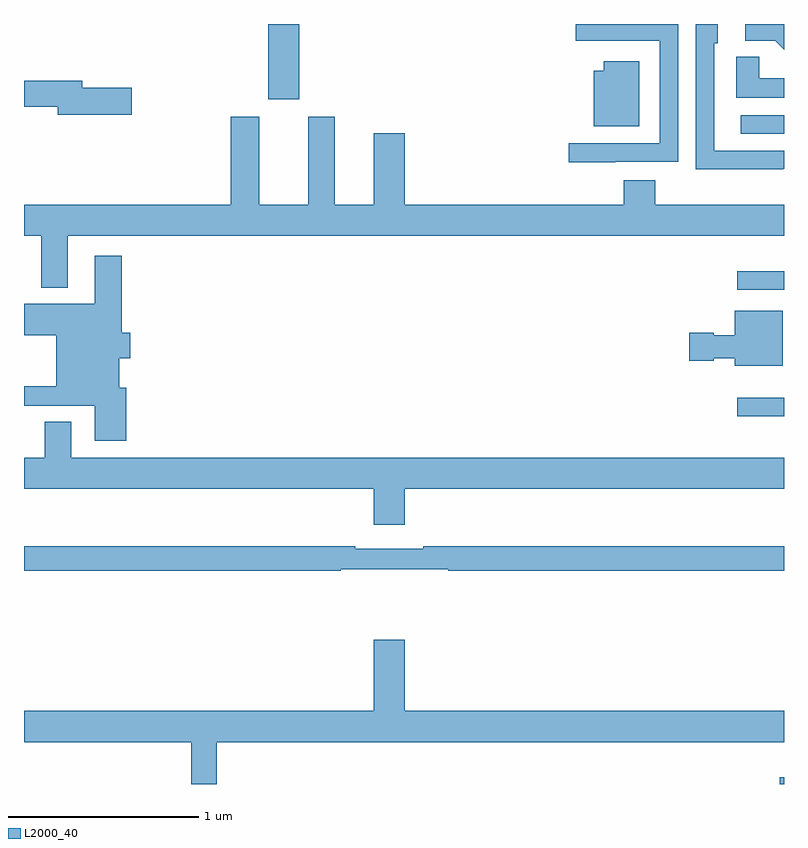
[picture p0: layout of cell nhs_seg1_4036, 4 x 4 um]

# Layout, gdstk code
import gdstk
lib = gdstk.Library(unit=1e-6, precision=1e-09)
def R(c, l, rs):  # rectangles x0, y0, x1, y1
    for r in rs: c.add(gdstk.rectangle(r[:2], r[2:], *l))
def P(c, l, *ps):  # polygons
    for p in ps: c.add(gdstk.Polygon(p, *l))
L2000_40 = (2000, 40)

nhs_seg1_4036 = lib.new_cell('nhs_seg1_4036')
R(nhs_seg1_4036, L2000_40, [(334.977,530.199,335,530.234), (334.755,532.134,335,532.231), (334.755,532.8,335,532.898), (334.773,533.622,335,533.718), (332.285,533.802,332.449,534.199)])
P(nhs_seg1_4036, L2000_40, [(335,534.199),(334.797,534.199),(334.797,534.111),(334.953,534.111),(335,534.064)],
  [(334.997,533.436),(335,533.436),(335,533.532),(334.632,533.532),(334.632,534.099),(334.651,534.099),(334.651,534.199),(334.536,534.199),(334.536,533.435),(334.997,533.435)],
  [(334.111,533.475),(334.443,533.475),(334.443,534.199),(333.903,534.199),(333.903,534.111),(334.347,534.111),(334.347,533.571),(333.867,533.571),(333.867,533.471),(334.111,533.471)],
  [(335,533.914),(334.87,533.914),(334.87,534.026),(334.748,534.026),(334.748,533.81),(335,533.81)],
  [(334.237,534.004),(334.052,534.004),(334.052,533.953),(333.998,533.953),(333.998,533.66),(334.237,533.66)],
  [(331.567,533.864),(331.306,533.864),(331.306,533.9),(331,533.9),(331,533.764),(331.178,533.764),(331.178,533.722),(331.567,533.722)],
  [(331.231,533.084),(335,533.084),(335,533.248),(334.322,533.248),(334.322,533.377),(334.157,533.377),(334.157,533.248),(333.004,533.248),(333.004,533.623),(332.84,533.623),(332.84,533.248),(332.635,533.248),(332.635,533.71),(332.495,533.71),(332.495,533.248),(332.239,533.248),(332.239,533.71),(332.087,533.71),(332.087,533.248),(331,533.248),(331,533.084),(331.091,533.084),(331.091,532.811),(331.231,532.811)],
  [(331.538,532.284),(331.501,532.284),(331.501,532.439),(331.558,532.439),(331.558,532.574),(331.514,532.574),(331.514,532.978),(331.373,532.978),(331.373,532.726),(331,532.726),(331,532.562),(331.169,532.562),(331.169,532.292),(331,532.292),(331,532.191),(331.373,532.191),(331.373,532.005),(331.538,532.005)],
  [(334.993,532.69),(334.742,532.69),(334.742,532.561),(334.629,532.561),(334.629,532.574),(334.5,532.574),(334.5,532.427),(334.629,532.427),(334.629,532.439),(334.742,532.439),(334.742,532.4),(334.993,532.4)],
  [(331.249,532.106),(331.109,532.106),(331.109,531.916),(331,531.916),(331,531.752),(332.84,531.752),(332.84,531.564),(333.004,531.564),(333.004,531.752),(335,531.752),(335,531.916),(331.249,531.916)],
  [(332.666,531.33),(333.233,531.33),(333.233,531.322),(335,531.322),(335,531.451),(333.1,531.451),(333.1,531.438),(332.744,531.438),(332.744,531.451),(331,531.451),(331,531.322),(332.666,531.322)],
  [(332.015,530.42),(335,530.42),(335,530.584),(333.004,530.584),(333.004,530.959),(332.84,530.959),(332.84,530.584),(331,530.584),(331,530.42),(331.879,530.42),(331.879,530.199),(332.015,530.199)])

lib.write_gds('nhs_seg1_4036.gds')
